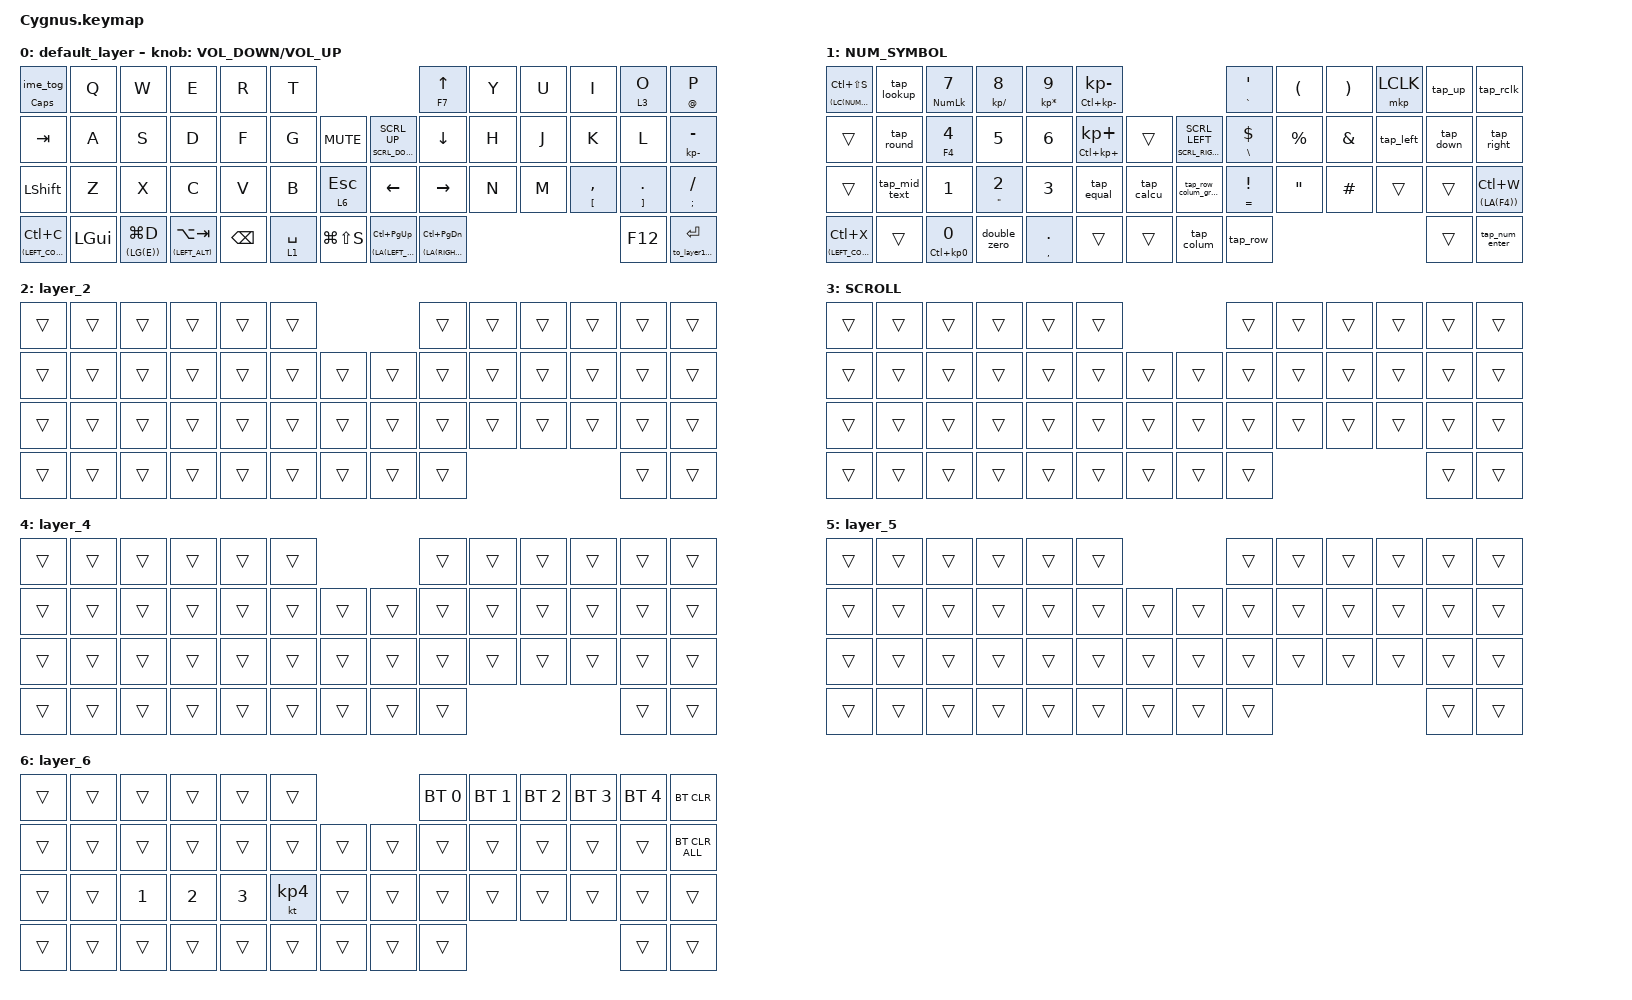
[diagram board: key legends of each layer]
#define ZMK_POINTING_DEFAULT_SCRL_VAL 120    // default: 10

#include <behaviors.dtsi>
#include <dt-bindings/zmk/bt.h>
#include <dt-bindings/zmk/keys.h>
#include <dt-bindings/zmk/pointing.h>

#define MOUSE 2
#define SCROLL 3

&mt {
    flavor = "balanced";
    quick-tap-ms = <200>;
};

&lt {
    quick-tap-ms = <200>;
    flavor = "balanced";
};

/ {
    combos {
        compatible = "zmk,combos";

        henkan {
            bindings = <&kp LC(LS(K))>;
            key-positions = <23 24>;
            layers = <0 1>;
        };

        muhenkan {
            bindings = <&kp LC(LS(S))>;
            key-positions = <15 14>;
            layers = <0 1>;
        };

        delete {
            bindings = <&kp DELETE>;
            key-positions = <11 10>;
            layers = <0 1>;
        };

        remove_duplicates {
            bindings = <&remove_duplicates>;
            key-positions = <3 2>;
            layers = <1>;
        };

        merging {
            bindings = <&merging_cells>;
            key-positions = <48 47>;
            layers = <1>;
        };
    };

    macros {
        to_layer_0: to_layer_0 {
            compatible = "zmk,behavior-macro-one-param";
            #binding-cells = <1>;
            bindings = <&to 0 &macro_param_1to1 &kp MACRO_PLACEHOLDER>;
            label = "TO_LAYER_0";
        };

        to_layer1_en: to_layer1_en {
            compatible = "zmk,behavior-macro";
            #binding-cells = <0>;
            wait-ms = <0>;
            tap-ms = <10>;
            bindings =
                <&macro_press>,
                <&mo 1>,
                <&macro_tap>,
                <&kp LC(LS(S))>,
                <&macro_pause_for_release>,
                <&macro_release>,
                <&mo 1>;

            label = "TO_LAYER1_EN";
        };

        ime_tog: ime_on_off {
            compatible = "zmk,behavior-macro";
            #binding-cells = <0>;
            bindings =
                <&macro_press>,
                <&kp LEFT_ALT>,
                <&macro_tap>,
                <&kp GRAVE>,
                <&macro_release>,
                <&kp LEFT_ALT>;

            label = "IME_ON_OFF";
        };

        shift_click: shift_crick {
            compatible = "zmk,behavior-macro";
            #binding-cells = <0>;
            bindings =
                <&macro_press>,
                <&kp LEFT_SHIFT>,
                <&macro_tap>,
                <&mkp LCLK>,
                <&macro_release>,
                <&kp LEFT_SHIFT>;

            label = "SHIFT_CRICK";
        };

        control_click: contolor_click {
            compatible = "zmk,behavior-macro";
            #binding-cells = <0>;
            bindings =
                <&macro_press>,
                <&kp LEFT_CONTROL &mkp LCLK>,
                <&macro_pause_for_release>,
                <&macro_release>,
                <&kp LEFT_CONTROL &mkp LCLK>;

            label = "CONTOLOR_CLICK";
        };

        sort: transe_row_colum {
            compatible = "zmk,behavior-macro";
            #binding-cells = <0>;
            bindings = <&kp LA(D) &kp S>;
            label = "TRANSE_ROW_COLUM";
        };

        remove_duplicates: choufuku {
            compatible = "zmk,behavior-macro";
            #binding-cells = <0>;
            bindings = <&kp LEFT_ALT &kp A &kp M>;
            label = "CHOUFUKU";
        };

        window_hold: window_hold {
            compatible = "zmk,behavior-macro";
            #binding-cells = <0>;
            bindings = <&kp LEFT_ALT &kp W &kp F &kp F>;
            label = "WINDOW_HOLD";
        };

        merging_cells: merging_cells {
            compatible = "zmk,behavior-macro";
            #binding-cells = <0>;
            bindings = <&kp LEFT_ALT &kp H &kp M &kp C>;
            label = "MERGING_CELLS";
        };

        paste_formulas_only: paste_formulas_only {
            compatible = "zmk,behavior-macro";
            #binding-cells = <0>;
            bindings = <&kp LA(E) &kp S &kp F &kp ENTER>;
            label = "PASTE_FORMULAS_ONLY";
        };

        transpose_and_paste: transpose_and_paste {
            compatible = "zmk,behavior-macro";
            #binding-cells = <0>;
            bindings = <&kp LA(E) &kp S &kp E &kp V &kp ENTER>;
            label = "TRANSPOSE_AND_PASTE";
        };

        paste_memo_only: paste_memo_only {
            compatible = "zmk,behavior-macro";
            #binding-cells = <0>;
            bindings = <&kp LA(E) &kp S &kp C &kp ENTER>;
            label = "PASTE_MEMO_ONLY";
        };

        auto_calculation_on: auto_calculation {
            compatible = "zmk,behavior-macro";
            #binding-cells = <0>;
            bindings = <&kp LEFT_ALT &kp M &kp X &kp A>;
            label = "AUTO_CALCULATION";
        };

        auto_calculation_off: auto_calculation_off {
            compatible = "zmk,behavior-macro";
            #binding-cells = <0>;
            bindings = <&kp LEFT_ALT &kp M &kp X &kp M>;
            label = "AUTO_CALCULATION_OFF";
        };

        name_change: name_change {
            compatible = "zmk,behavior-macro";
            #binding-cells = <0>;
            bindings = <&mkp LCLK &kp F2>;
            label = "NAME_CHANGE";
        };

        sheet_delete: seet_delete {
            compatible = "zmk,behavior-macro";
            #binding-cells = <0>;
            bindings = <&kp LA(E) &kp L>;
            label = "SEET_DELETE";
        };

        double_zero: double_zero {
            compatible = "zmk,behavior-macro";
            #binding-cells = <0>;
            bindings = <&kp NUMBER_0 &kp NUMBER_0>;
            label = "DOUBLE_ZERO";
        };

        row_plus: row_plus {
            compatible = "zmk,behavior-macro";
            #binding-cells = <0>;
            bindings = <&kp LS(SPACE) &kp LC(KP_PLUS)>;
            label = "ROW_PLUS";
        };

        row_minus: row_minus {
            compatible = "zmk,behavior-macro";
            #binding-cells = <0>;
            bindings = <&kp LS(SPACE) &kp LC(KP_MINUS)>;
            label = "ROW_MINUS";
        };

        colum_plus: colum_plus {
            compatible = "zmk,behavior-macro";
            #binding-cells = <0>;
            bindings = <&kp LC(SPACE) &kp LC(KP_PLUS)>;
            label = "COLUM_PLUS";
        };

        colum_minus: colum_minus {
            compatible = "zmk,behavior-macro";
            #binding-cells = <0>;
            bindings = <&kp LC(SPACE) &kp LC(KP_MINUS)>;
            label = "COLUM_MINUS";
        };

        row_copy: row_copy {
            compatible = "zmk,behavior-macro";
            #binding-cells = <0>;
            bindings = <&kp LS(SPACE) &kp LC(C)>;
            label = "ROW_COPY";
        };

        row_cut: row_cut {
            compatible = "zmk,behavior-macro";
            #binding-cells = <0>;
            bindings = <&kp LS(SPACE) &kp LC(X)>;
            label = "ROW_CUT";
        };

        colum_copy: colum_copy {
            compatible = "zmk,behavior-macro";
            #binding-cells = <0>;
            bindings = <&kp LC(SPACE) &kp LC(C)>;
            label = "COLUM_COPY";
        };

        colum_cut: colum_cut {
            compatible = "zmk,behavior-macro";
            #binding-cells = <0>;
            bindings = <&kp LC(SPACE) &kp LC(X)>;
            label = "COLUM_CUT";
        };

        vlookup: vlookup {
            compatible = "zmk,behavior-macro";
            #binding-cells = <0>;
            bindings = <&kp EQUAL &kp I &kp F &kp N &kp A &kp LEFT_PARENTHESIS &kp V &kp L &kp O &kp O &kp K &kp U &kp P &kp LEFT_PARENTHESIS>;
            label = "VLOOKUP";
        };

        sumif: sumif {
            compatible = "zmk,behavior-macro";
            #binding-cells = <0>;
            bindings = <&kp EQUAL &kp S &kp U &kp M &kp I &kp F &kp LEFT_PARENTHESIS>;
            label = "SUMIF";
        };

        sumifs: sumifs {
            compatible = "zmk,behavior-macro";
            #binding-cells = <0>;
            bindings = <&kp EQUAL &kp S &kp U &kp M &kp I &kp F &kp S &kp LEFT_PARENTHESIS>;
            label = "SUMIFS";
        };

        round: round {
            compatible = "zmk,behavior-macro";
            #binding-cells = <0>;
            bindings = <&kp EQUAL &kp R &kp O &kp U &kp N &kp D &kp LEFT_PARENTHESIS &kp LEFT_PARENTHESIS>;
            label = "ROUND";
        };

        roundup: roundup {
            compatible = "zmk,behavior-macro";
            #binding-cells = <0>;
            bindings = <&kp EQUAL &kp R &kp O &kp U &kp N &kp D &kp U &kp P &kp LEFT_PARENTHESIS &kp LEFT_PARENTHESIS>;
            label = "ROUNDUP";
        };

        rounddown: rounddown {
            compatible = "zmk,behavior-macro";
            #binding-cells = <0>;
            bindings = <&kp EQUAL &kp R &kp O &kp U &kp N &kp D &kp D &kp O &kp W &kp N &kp LEFT_PARENTHESIS &kp LEFT_PARENTHESIS>;
            label = "ROUNDDOWN";
        };

        sum: sum {
            compatible = "zmk,behavior-macro";
            #binding-cells = <0>;
            bindings = <&kp EQUAL &kp S &kp U &kp M &kp LEFT_PARENTHESIS>;
            label = "SUM";
        };

        sumproduct: sumproduct {
            compatible = "zmk,behavior-macro";
            #binding-cells = <0>;
            bindings = <&kp EQUAL &kp S &kp U &kp M &kp P &kp R &kp O &kp D &kp U &kp C &kp T &kp LEFT_PARENTHESIS>;
            label = "SUMPRODUCT";
        };

        mid: mid {
            compatible = "zmk,behavior-macro";
            #binding-cells = <0>;
            bindings = <&kp EQUAL &kp M &kp I &kp D &kp LEFT_PARENTHESIS>;
            label = "MID";
        };

        text: text {
            compatible = "zmk,behavior-macro";
            #binding-cells = <0>;
            bindings = <&kp EQUAL &kp T &kp E &kp X &kp T &kp LEFT_PARENTHESIS>;
            label = "TEXT";
        };
    };

    behaviors {
        lt_to_layer_0: lt_to_layer_0 {
            compatible = "zmk,behavior-hold-tap";
            label = "LAYER_TAP_TO_0";
            bindings = <&mo>, <&to_layer_0>;

            #binding-cells = <2>;
            tapping-term-ms = <200>;
        };

        ROTATE: ROTATE {
            compatible = "zmk,behavior-sensor-rotate-var";
            label = "ROTATE";
            #sensor-binding-cells = <2>;
            bindings = <&msc>, <&msc>;

            tap-ms = <20>;
        };

        lt_en: lt_en {
            compatible = "zmk,behavior-hold-tap";
            #binding-cells = <2>;
            flavor = "tap-preferred";
            tapping-term-ms = <200>;
            bindings = <&to_layer1_en>, <&kp>;
        };

        ht_kp_ime: ht_kp_ime {
            compatible = "zmk,behavior-hold-tap";
            bindings = <&kp>, <&ime_tog>;

            #binding-cells = <2>;
            tapping-term-ms = <200>;
            flavor = "balanced";
            label = "HT_KP_IME";
        };

        ht_sc_rmkp: ht_sc_rmkp {
            compatible = "zmk,behavior-hold-tap";
            bindings = <&shift_click>, <&mkp>;

            #binding-cells = <2>;
            tapping-term-ms = <200>;
            flavor = "balanced";
            label = "HT_SC_RMKP";
        };

        ht_msc: ht_msc {
            compatible = "zmk,behavior-hold-tap";
            bindings = <&msc>, <&msc>;

            #binding-cells = <2>;
            tapping-term-ms = <200>;
            flavor = "tap-preferred";
            label = "HT_MSC";
            quick-tap-ms = <200>;
        };

        tap_rclk: tap_rclk {
            compatible = "zmk,behavior-tap-dance";
            #binding-cells = <0>;
            bindings = <&ht_sc_rmkp 0 RCLK>, <&control_click>, <&sheet_delete>;

            tapping-term-ms = <250>;
            label = "TAP_RCLK";
        };

        tap_up: tap_up {
            compatible = "zmk,behavior-tap-dance";
            #binding-cells = <0>;
            tapping-term-ms = <250>;
            label = "TAP_UP";
            bindings =
                <&mt HOME UP_ARROW>,
                <&mt LC(V) LC(LS(V))>,
                <&paste_formulas_only>,
                <&transpose_and_paste>,
                <&paste_memo_only>;
        };

        tap_down: tap_down {
            compatible = "zmk,behavior-tap-dance";
            #binding-cells = <0>;
            tapping-term-ms = <250>;
            label = "TAP_DOWN";
            bindings =
                <&mt END DOWN_ARROW>,
                <&mt LC(LS(L)) LC(LS(DOWN_ARROW))>,
                <&sort>;
        };

        tap_left: tap_left {
            compatible = "zmk,behavior-tap-dance";
            #binding-cells = <0>;
            tapping-term-ms = <250>;
            label = "TAP_LEFT";
            bindings =
                <&mt LS(HOME) LEFT_ARROW>,
                <&kp F2>,
                <&remove_duplicates>;
        };

        tap_right: tap_right {
            compatible = "zmk,behavior-tap-dance";
            #binding-cells = <0>;
            tapping-term-ms = <250>;
            label = "TAP_RIGHT";
            bindings =
                <&mt LS(END) RIGHT_ARROW>,
                <&kp LC(LS(RIGHT_ARROW))>,
                <&window_hold>;
        };

        tap_row: tap_row {
            compatible = "zmk,behavior-tap-dance";
            #binding-cells = <0>;
            bindings = <&row_copy>, <&row_cut>, <&row_plus>, <&row_minus>;

            tapping-term-ms = <250>;
            label = "TAP_ROW";
        };

        tap_colum: tap_colum {
            compatible = "zmk,behavior-tap-dance";
            #binding-cells = <0>;
            bindings =
                <&colum_copy>,
                <&colum_cut>,
                <&colum_plus>,
                <&colum_minus>;

            tapping-term-ms = <250>;
            label = "TAP_COLUM";
        };

        tap_row_colum_group: tap_row_colum_group {
            compatible = "zmk,behavior-tap-dance";
            #binding-cells = <0>;
            bindings =
                <&mt LC(SPACE) LS(SPACE)>,
                <&kp LA(LS(RIGHT_ARROW))>,
                <&kp LA(LS(LEFT_ARROW))>;

            tapping-term-ms = <250>;
            label = "TAP_ROW_COLUM_GROUP";
        };

        tap_calcu: tap_calcu {
            compatible = "zmk,behavior-tap-dance";
            #binding-cells = <0>;
            bindings = <&auto_calculation_off>, <&auto_calculation_on>;

            tapping-term-ms = <250>;
            label = "TAP_CALCU";
        };

        tap_equal: tap_equal {
            compatible = "zmk,behavior-tap-dance";
            #binding-cells = <0>;
            bindings = <&kp EQUAL>, <&sum>, <&sumproduct>;

            tapping-term-ms = <250>;
            label = "TAP_EQUAL";
        };

        tap_lookup: tap_lookup {
            compatible = "zmk,behavior-tap-dance";
            #binding-cells = <0>;
            bindings =
                <&mt LESS_THAN LEFT_PARENTHESIS>,
                <&vlookup>,
                <&sumif>,
                <&sumifs>;

            tapping-term-ms = <250>;
            label = "TAP_LOOKUP";
        };

        tap_round: tap_round {
            compatible = "zmk,behavior-tap-dance";
            #binding-cells = <0>;
            bindings =
                <&mt GREATER_THAN RIGHT_PARENTHESIS>,
                <&roundup>,
                <&rounddown>,
                <&round>;

            tapping-term-ms = <250>;
            label = "TAP_ROUND";
        };

        tap_mid_text: tap_mid_text {
            compatible = "zmk,behavior-tap-dance";
            #binding-cells = <0>;
            bindings = <&mid>, <&text>;

            tapping-term-ms = <250>;
            label = "TAP_MID_TEXT";
        };

        tap_num_enter: tap_num_enter {
            compatible = "zmk,behavior-tap-dance";
            #binding-cells = <0>;
            bindings = <&mt (LG(D)) LC(Z)>, <&mt LC(S) F9>;

            tapping-term-ms = <250>;
            label = "TAP_NUM_ENTER";
        };
    };

    keymap {
        compatible = "zmk,keymap";

        default_layer {
            bindings = <
&ht_kp_ime CAPSLOCK 0     &kp Q         &kp W              &kp E                   &kp R          &kp T                                                           &mt F7 UP_ARROW                      &kp Y  &kp U  &kp I                   &lt 3 O                &mt AT_SIGN P
&kp TAB                   &kp A         &kp S              &kp D                   &kp F          &kp G        &kp C_MUTE       &ht_msc SCRL_DOWN SCRL_UP         &kp DOWN_ARROW                       &kp H  &kp J  &kp K                   &kp L                  &mt KP_MINUS MINUS
&kp LSHFT                 &kp Z         &kp X              &kp C                   &kp V          &kp B        &lt 6 ESCAPE     &kp LEFT_ARROW                    &kp RIGHT_ARROW                      &kp N  &kp M  &mt LEFT_BRACKET COMMA  &mt RIGHT_BRACKET DOT  &mt SEMICOLON SLASH
&mt (LEFT_CONTROL) LC(C)  &kp LEFT_GUI  &mt (LG(E)) LG(D)  &mt (LEFT_ALT) LA(TAB)  &kp BACKSPACE  &lt 1 SPACE  &kp LG(LS(S))    &mt (LA(LEFT_ARROW)) LC(PAGE_UP)  &mt (LA(RIGHT_ARROW)) LC(PAGE_DOWN)                                        &kp F12                &lt_en 0 ENTER
            >;

            sensor-bindings = <&inc_dec_kp C_VOLUME_DOWN C_VOLUME_UP>;
        };

        NUM_SYMBOL {
            bindings = <
&mt (LC(NUMBER_1)) LC(LS(S))  &tap_lookup    &mt KP_NUMLOCK NUMBER_7       &mt KP_DIVIDE NUMBER_8      &mt KP_ASTERISK NUMBER_9  &mt LC(KP_MINUS) KP_MINUS                                              &mt GRAVE APOSTROPHE   &kp LEFT_PARENTHESIS  &kp RIGHT_PARENTHESIS  &mkp LCLK  &tap_up    &tap_rclk
&trans                        &tap_round     &mt F4 NUMBER_4               &kp NUMBER_5                &kp NUMBER_6              &mt LC(KP_PLUS) KP_PLUS    &trans        &ht_msc SCRL_RIGHT SCRL_LEFT  &mt BACKSLASH DOLLAR   &kp PERCENT           &kp AMPERSAND          &tap_left  &tap_down  &tap_right
&trans                        &tap_mid_text  &kp NUMBER_1                  &mt DOUBLE_QUOTES NUMBER_2  &kp NUMBER_3              &tap_equal                 &tap_calcu    &tap_row_colum_group          &mt EQUAL EXCLAMATION  &kp DOUBLE_QUOTES     &kp POUND              &trans     &trans     &mt (LA(F4)) LC(W)
&mt (LEFT_CONTROL) LC(X)      &trans         &mt LC(KP_NUMBER_0) NUMBER_0  &double_zero                &mt COMMA DOT             &trans                     &trans        &tap_colum                    &tap_row                                                                       &trans     &tap_num_enter
            >;
        };

        layer_2 {
            bindings = <
&trans  &trans  &trans  &trans  &trans  &trans                    &trans  &trans  &trans  &trans  &trans  &trans
&trans  &trans  &trans  &trans  &trans  &trans  &trans    &trans  &trans  &trans  &trans  &trans  &trans  &trans
&trans  &trans  &trans  &trans  &trans  &trans  &trans    &trans  &trans  &trans  &trans  &trans  &trans  &trans
&trans  &trans  &trans  &trans  &trans  &trans  &trans    &trans  &trans                          &trans  &trans
            >;
        };

        SCROLL {
            bindings = <
&trans  &trans  &trans  &trans  &trans  &trans                    &trans  &trans  &trans  &trans  &trans  &trans
&trans  &trans  &trans  &trans  &trans  &trans  &trans    &trans  &trans  &trans  &trans  &trans  &trans  &trans
&trans  &trans  &trans  &trans  &trans  &trans  &trans    &trans  &trans  &trans  &trans  &trans  &trans  &trans
&trans  &trans  &trans  &trans  &trans  &trans  &trans    &trans  &trans                          &trans  &trans
            >;
        };

        layer_4 {
            bindings = <
&trans  &trans  &trans  &trans  &trans  &trans                    &trans  &trans  &trans  &trans  &trans  &trans
&trans  &trans  &trans  &trans  &trans  &trans  &trans    &trans  &trans  &trans  &trans  &trans  &trans  &trans
&trans  &trans  &trans  &trans  &trans  &trans  &trans    &trans  &trans  &trans  &trans  &trans  &trans  &trans
&trans  &trans  &trans  &trans  &trans  &trans  &trans    &trans  &trans                          &trans  &trans
            >;
        };

        layer_5 {
            bindings = <
&trans  &trans  &trans  &trans  &trans  &trans                    &trans  &trans  &trans  &trans  &trans  &trans
&trans  &trans  &trans  &trans  &trans  &trans  &trans    &trans  &trans  &trans  &trans  &trans  &trans  &trans
&trans  &trans  &trans  &trans  &trans  &trans  &trans    &trans  &trans  &trans  &trans  &trans  &trans  &trans
&trans  &trans  &trans  &trans  &trans  &trans  &trans    &trans  &trans                          &trans  &trans
            >;
        };

        layer_6 {
            bindings = <
&trans  &trans  &trans        &trans        &trans        &trans                       &bt BT_SEL 0  &bt BT_SEL 1  &bt BT_SEL 2  &bt BT_SEL 3  &bt BT_SEL 4  &bt BT_CLR
&trans  &trans  &trans        &trans        &trans        &trans     &trans    &trans  &trans        &trans        &trans        &trans        &trans        &bt BT_CLR_ALL
&trans  &trans  &kp NUMBER_1  &kp NUMBER_2  &kp NUMBER_3  &kt KP_N4  &trans    &trans  &trans        &trans        &trans        &trans        &trans        &trans
&trans  &trans  &trans        &trans        &trans        &trans     &trans    &trans  &trans                                                  &trans        &trans
            >;
        };
    };
};
